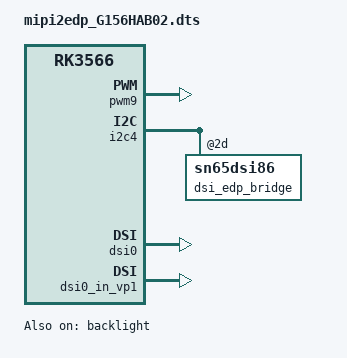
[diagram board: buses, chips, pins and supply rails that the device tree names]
/dts-v1/;
/plugin/;
/ {
	compatible = "rockchip,rk3566";

	fragment@0 {
		target = <&pwm9>;
		__overlay__ {
			status = "okay";
		};
	};
	fragment@1 {
		target = <&backlight>;
		__overlay__ {
			status = "okay";
			power-sequence-reverse;
			minimal-brightness-level = <30>;
			disable_delay = <15>;
		};
	};
	fragment@2 {
		target = <&i2c4>;
		__overlay__ {
			status = "okay";
			dsi_edp_bridge: sn65dsi86@2d {
				status = "okay";
				dsi-lanes = <4>;//u-boot
				data-lanes-size = <2>;//u-boot
				bpc=<8>;//u-boot
				data-lanes = <0 1>;
				lane-polarities = <0 0 0 0>;

				t1=<0>;
				t2=<0>;
				t3=<200>;
				t4=<20>;
				t5=<0>;
				t6=<0>;
				t7=<0>;
				t8=<100>;
				t12= <500>;
				t14= <15>;
				t15 = <15>;
				t16= <15>;
				t17 = <15>;
			};
		};
	};
	fragment@3 {
		target = <&dsi0>;
		__overlay__ {
			status = "okay";
			panel@0 {
				backlight = <&backlight>;
				width-mm = <344>;
				height-mm = <193>;
				bpc=<8>;
				bus-format = <0x100a>;//<MEDIA_BUS_FMT_RGB888_1X24>;
				dsi,flags = <0x3>;
				dsi,format = <0>;//MIPI_DSI_FMT_RGB888:
				dsi,lanes = <4>;

				display-timings {
					native-mode = <&timing86>;

					timing86: timing86  {
				            clock-frequency = <142000000>;
				            hactive = <1920>;
				            vactive = <1080>;
				            hfront-porch = <108>;
				            hsync-len = <48>;
				            hback-porch = <24>;
				            vfront-porch = <10>;
				            vsync-len = <10>;
				            vback-porch = <26>;
				            hsync-active = <0>;
				            vsync-active = <0>;
				            de-active = <1>;
				            pixelclk-active = <0>;
					};
				};
			};
		};
	};
    fragment@4 {
        target = <&dsi0_in_vp1>;
        __overlay__ {
            status = "okay";
        };
    };
    fragment@5 {
       target = <&vp0>;
       __overlay__ {
            rockchip,plane-mask = <42>; //AUX display layer, <(1 << ROCKCHIP_VOP2_CLUSTER1 | 1 << ROCKCHIP_VOP2_SMART1 | 1 << ROCKCHIP_VOP2_ESMART1)>
            rockchip,primary-plane = <5>; //ROCKCHIP_VOP2_SMART1
       };
    };
    fragment@6 {
       target = <&vp1>;
       __overlay__ {
            rockchip,plane-mask = <21>; //MAIN display layer, <(1 << ROCKCHIP_VOP2_CLUSTER0 | 1 << ROCKCHIP_VOP2_SMART0 | 1 << ROCKCHIP_VOP2_ESMART0)>
            rockchip,primary-plane = <4>; //ROCKCHIP_VOP2_SMART0
       };
    };
};
